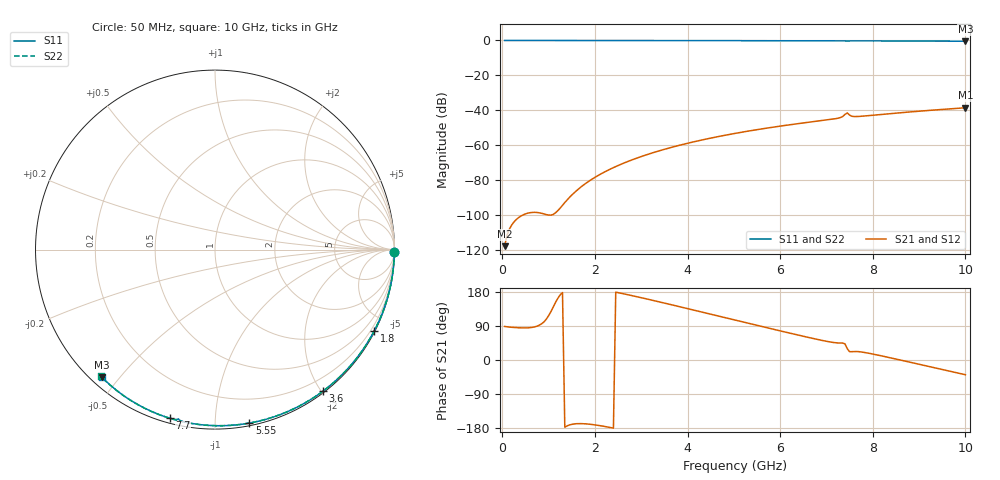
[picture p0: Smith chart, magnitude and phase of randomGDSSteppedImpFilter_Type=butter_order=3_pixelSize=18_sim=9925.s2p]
! freq	dB(S11)	phase(S11)	dB(S12)	phase(S12)
!  dB(S21)	phase(S21)	dB(S22)	phase(S22)
!S-par simulation data
#  GHz  S  DB  R 50
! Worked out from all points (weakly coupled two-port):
!   200 points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, 50 MHz to 10 GHz, reference 50 ohm
!   highest |S21| = -38.47 dB at 10 GHz (marker M1); lowest = -117.5 dB at 50 MHz (marker M2)
!   lowest |S11| = -0.4 dB at 10 GHz (marker M3), VSWR 39.02, Z = 1.54 - j22.5 ohm
!   |S11| at or under -10 dB: nowhere
!   |S22| runs from -0.4 to 0.0 dB; largest |S21 - S12| = 0
!   S11 on the Smith chart (normalised r, x): 50 MHz: open; 1.8 GHz: 0.04, -4.17; 3.6 GHz: 0.02, -2.02; 5.55 GHz: 0.02, -1.22; 7.7 GHz: 0.02, -0.77; 10 GHz: 0.03, -0.45
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0.05  -0.01 -0.8  -117.54 88.6  -117.54 88.6  -0.01 -0.8
0.9  -0.02 -13.6  -99.13 100.5  -99.13 100.5  -0.02 -13.6
1.75  -0.03 -26.2  -82.67 -168.1  -82.67 -168.1  -0.03 -26.3
1.8  -0.03 -27.0  -81.70 -168.5  -81.70 -168.5  -0.03 -27.0
1.9  -0.04 -28.4  -79.89 -169.6  -79.89 -169.6  -0.04 -28.5
2.25  -0.04 -33.6  -74.57 -176.2  -74.57 -176.2  -0.04 -33.6
2.65  -0.05 -39.3  -69.79 173.9  -69.79 173.9  -0.05 -39.4
3  -0.06 -44.3  -66.34 164.4  -66.34 164.4  -0.06 -44.4
3.4  -0.07 -50.0  -62.97 153.1  -62.97 153.1  -0.07 -50.1
3.6  -0.07 -52.7  -61.47 147.3  -61.47 147.3  -0.07 -52.9
4.3  -0.09 -62.3  -56.93 126.8  -56.93 126.8  -0.09 -62.5
5.05  -0.11 -72.3  -52.99 104.7  -52.99 104.7  -0.11 -72.5
5.55  -0.13 -78.8  -50.76 90.0  -50.76 90.0  -0.13 -79.0
6.7  -0.18 -93.2  -46.46 57.1  -46.46 57.1  -0.18 -93.4
7.25  -0.22 -100.0  -44.43 44.9  -44.43 44.9  -0.21 -100.1
7.35  -0.24 -101.3  -43.46 44.8  -43.46 44.8  -0.22 -101.3
7.45  -0.31 -102.2  -41.43 29.6  -41.43 29.6  -0.22 -102.5
7.5  -0.27 -102.5  -42.66 21.9  -42.66 21.9  -0.22 -103.1
7.55  -0.25 -103.2  -43.32 22.1  -43.32 22.1  -0.23 -103.7
7.7  -0.24 -105.1  -43.43 22.0  -43.43 22.0  -0.24 -105.5
8.35  -0.29 -112.7  -41.89 6.6  -41.89 6.6  -0.29 -113.1
10  -0.45 -131.6  -38.47 -38.9  -38.47 -38.9  -0.44 -132.1
